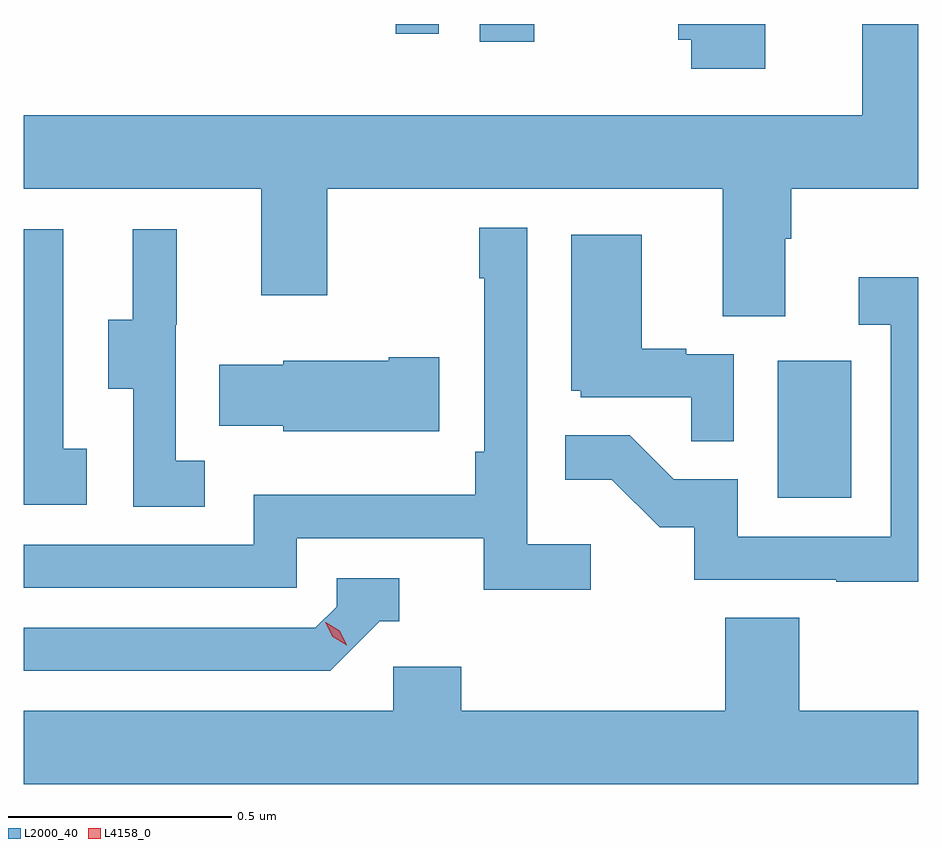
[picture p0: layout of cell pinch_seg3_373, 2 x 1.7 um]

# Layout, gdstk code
import gdstk
lib = gdstk.Library(unit=1e-6, precision=1e-09)
def R(c, l, rs):  # rectangles x0, y0, x1, y1
    for r in rs: c.add(gdstk.rectangle(r[:2], r[2:], *l))
def P(c, l, *ps):  # polygons
    for p in ps: c.add(gdstk.Polygon(p, *l))
L2000_40 = (2000, 40)
L4158_0 = (4158, 0)

pinch_seg3_373 = lib.new_cell('pinch_seg3_373')
R(pinch_seg3_373, L2000_40, [(990.314,701.556,990.478,701.863), (989.648,702.576,989.77,702.616), (989.46,702.594,989.556,702.616)])
P(pinch_seg3_373, L2000_40, [(990.331,702.136),(990.344,702.136),(990.344,702.248),(990.628,702.248),(990.628,702.616),(990.503,702.616),(990.503,702.412),(988.628,702.412),(988.628,702.248),(989.159,702.248),(989.159,702.009),(989.307,702.009),(989.307,702.248),(990.191,702.248),(990.191,701.962),(990.331,701.962)],
  [(990.286,702.616),(990.092,702.616),(990.092,702.581),(990.121,702.581),(990.121,702.516),(990.286,702.516)],
  [(989.896,701.452),(989.754,701.452),(989.754,702.16),(989.646,702.16),(989.646,702.047),(989.658,702.047),(989.658,701.659),(989.638,701.659),(989.638,701.563),(989.142,701.563),(989.142,701.451),(988.628,701.451),(988.628,701.355),(989.238,701.355),(989.238,701.466),(989.657,701.466),(989.657,701.35),(989.896,701.35)],
  [(989.032,701.639),(988.968,701.639),(988.968,701.943),(988.97,701.943),(988.97,702.157),(988.871,702.157),(988.871,701.955),(988.817,701.955),(988.817,701.8),(988.872,701.8),(988.872,701.536),(989.032,701.536)],
  [(988.768,701.666),(988.716,701.666),(988.716,702.157),(988.628,702.157),(988.628,701.541),(988.768,701.541)],
  [(990.216,701.877),(990.11,701.877),(990.11,701.89),(990.01,701.89),(990.01,702.145),(989.852,702.145),(989.852,701.796),(989.874,701.796),(989.874,701.781),(990.121,701.781),(990.121,701.683),(990.216,701.683)],
  [(990.628,702.049),(990.495,702.049),(990.495,701.943),(990.567,701.943),(990.567,701.469),(990.225,701.469),(990.225,701.598),(990.081,701.598),(989.983,701.696),(989.839,701.696),(989.839,701.597),(989.943,701.597),(990.05,701.49),(990.127,701.49),(990.127,701.373),(990.445,701.373),(990.445,701.368),(990.628,701.368)],
  [(989.557,701.871),(989.444,701.871),(989.444,701.863),(989.208,701.863),(989.208,701.854),(989.065,701.854),(989.065,701.717),(989.208,701.717),(989.208,701.705),(989.557,701.705)],
  [(989.424,701.28),(989.467,701.28),(989.467,701.376),(989.328,701.376),(989.328,701.313),(989.28,701.265),(988.628,701.265),(988.628,701.169),(989.313,701.169)],
  [(990.628,701.08),(990.362,701.08),(990.362,701.288),(990.197,701.288),(990.197,701.08),(989.606,701.08),(989.606,701.178),(989.454,701.178),(989.454,701.08),(988.628,701.08),(988.628,700.916),(990.628,700.916)])
P(pinch_seg3_373, L4158_0, [(989.35,701.226),(989.319,701.245),(989.302,701.278),(989.302,701.278),(989.303,701.278),(989.334,701.259),(989.35,701.226),(989.35,701.226)])

lib.write_gds('pinch_seg3_373.gds')
